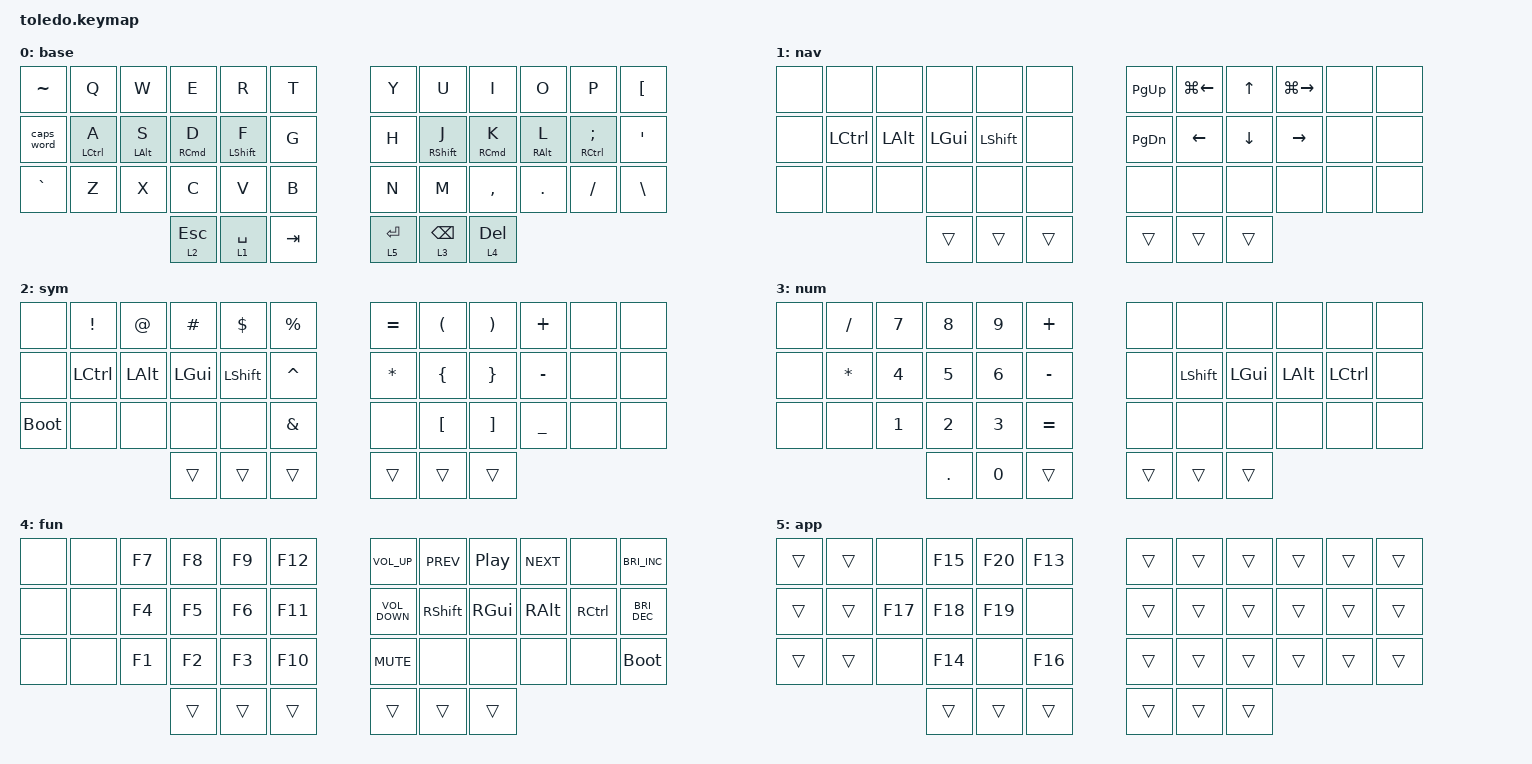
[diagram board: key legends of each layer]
#include <behaviors.dtsi>
#include <dt-bindings/zmk/keys.h>

&lt { quick-tap-ms = <200>; };

&mt {
    quick-tap-ms = <0>;
    flavor = "tap-preferred";
    tapping-term-ms = <150>;
};

/ {
    keymap {
        compatible = "zmk,keymap";

        default_layer {
            bindings = <
&kp TILDE   &kp Q        &kp W       &kp E         &kp R             &kp T    &kp Y        &kp U              &kp I       &kp O       &kp P           &kp LBKT
&caps_word  &mt LCTRL A  &mt LALT S  &mt RCMD D    &mt LEFT_SHIFT F  &kp G    &kp H        &mt RIGHT_SHIFT J  &mt RCMD K  &mt RALT L  &mt RCTRL SEMI  &kp SINGLE_QUOTE
&kp GRAVE   &kp Z        &kp X       &kp C         &kp V             &kp B    &kp N        &kp M              &kp COMMA   &kp DOT     &kp FSLH        &kp BACKSLASH
                                     &lt 2 ESCAPE  &lt 1 SPACE       &kp TAB  &lt 5 ENTER  &lt 3 BSPC         &lt 4 DEL
            >;

            display-name = "base";
        };

        layer_nav {
            bindings = <
&none  &none      &none     &none     &none      &none   &kp PG_UP  &kp LG(LEFT)  &kp UP    &kp LG(RIGHT)  &none  &none
&none  &kp LCTRL  &kp LALT  &kp LGUI  &kp LSHFT  &none   &kp PG_DN  &kp LEFT      &kp DOWN  &kp RIGHT      &none  &none
&none  &none      &none     &none     &none      &none   &none      &none         &none     &none          &none  &none
                            &trans    &trans     &trans  &trans     &trans        &trans
            >;

            display-name = "nav";
        };

        layer_sym {
            bindings = <
&none        &kp EXCL   &kp AT    &kp HASH  &kp DOLLAR  &kp PERCENT    &kp EQUAL     &kp LEFT_PARENTHESIS  &kp RIGHT_PARENTHESIS  &kp PLUS   &none  &none
&none        &kp LCTRL  &kp LALT  &kp LGUI  &kp LSHFT   &kp CARET      &kp ASTERISK  &kp LEFT_BRACE        &kp RIGHT_BRACE        &kp MINUS  &none  &none
&bootloader  &none      &none     &none     &none       &kp AMPERSAND  &none         &kp LBKT              &kp RBKT               &kp UNDER  &none  &none
                                  &trans    &trans      &trans         &trans        &trans                &trans
            >;

            display-name = "sym";
        };

        layer_num {
            bindings = <
&none  &kp FSLH  &kp N7  &kp N8   &kp N9  &kp PLUS   &none   &none      &none     &none     &none      &none
&none  &kp STAR  &kp N4  &kp N5   &kp N6  &kp MINUS  &none   &kp LSHFT  &kp LGUI  &kp LALT  &kp LCTRL  &none
&none  &none     &kp N1  &kp N2   &kp N3  &kp EQUAL  &none   &none      &none     &none     &none      &none
                         &kp DOT  &kp N0  &trans     &trans  &trans     &trans
            >;

            display-name = "num";
        };

        layer_fun {
            bindings = <
&none  &none  &kp F7  &kp F8  &kp F9  &kp F12  &kp C_VOLUME_UP    &kp C_PREV  &kp C_PLAY_PAUSE  &kp C_NEXT  &none      &kp C_BRIGHTNESS_INC
&none  &none  &kp F4  &kp F5  &kp F6  &kp F11  &kp C_VOLUME_DOWN  &kp RSHFT   &kp RGUI          &kp RALT    &kp RCTRL  &kp C_BRIGHTNESS_DEC
&none  &none  &kp F1  &kp F2  &kp F3  &kp F10  &kp K_MUTE         &none       &none             &none       &none      &bootloader
                      &trans  &trans  &trans   &trans             &trans      &trans
            >;

            display-name = "fun";
        };

        layer_app {
            bindings = <
&trans  &trans  &none    &kp F15  &kp F20  &kp F13  &trans  &trans  &trans  &trans  &trans  &trans
&trans  &trans  &kp F17  &kp F18  &kp F19  &none    &trans  &trans  &trans  &trans  &trans  &trans
&trans  &trans  &none    &kp F14  &none    &kp F16  &trans  &trans  &trans  &trans  &trans  &trans
                         &trans   &trans   &trans   &trans  &trans  &trans
            >;

            display-name = "app";
        };
    };
};
